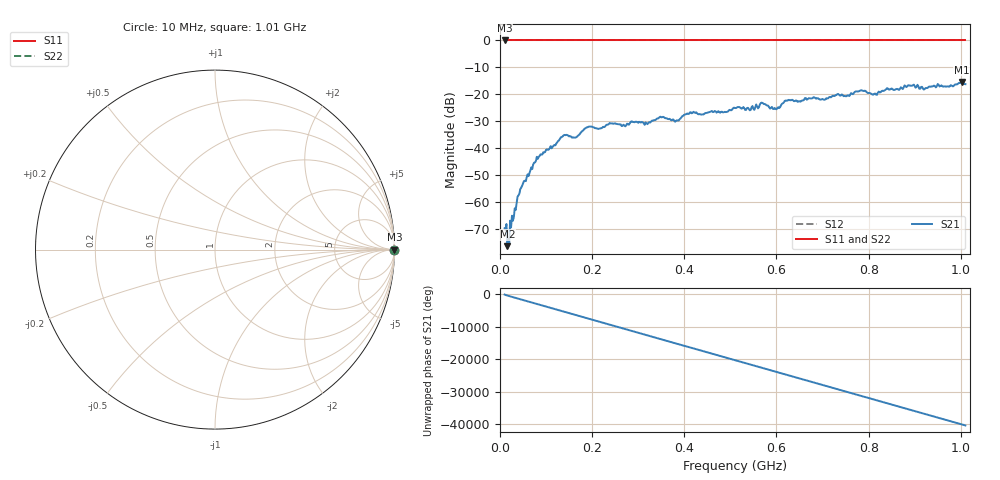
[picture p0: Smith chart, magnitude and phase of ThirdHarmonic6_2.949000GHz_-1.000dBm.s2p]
! 8/17/2025 8:17:20 AM
! C:\ANRITSUVNA\TEMP\TEMP.S2P
! CHANNEL.1
! TR.MEASUREMENT
! RAW.DATA
! RF.CORRECTION.OFF
! AVERAGING.OFF
! IF.BANDWIDTH: 5KHZ
! SWEEPTYPE:  FREQ.SWEEP(Linear)
! Reference Plane Port Info
! PORT:  PORT1  PORT2
! DISTANCE:  0  m  0  m
! TIME:  0  s  0  s
! PHASE.OFFSET:  0  deg.  0  deg.
! LOSS:  0  dB  0  dB
! REF.LOSS:  0  dB  0  dB
! REF.FREQ:  0  Hz  0  Hz
! Power Info
! POWER:  -20  dBm  -20  dBm
! EFF.POWER:  -20  dBm  -20  dBm
! SOURCE.ATTEN:  0  dB  0  dB
! TEST.ATTEN:  0  dB  0  dB
# GHZ S RI R 50.0
! FREQ.GHZ  S11RE  S11IM  S21RE  S21IM  S12RE  S12IM  S22RE  S22IM
!; PortSelection: Port_12
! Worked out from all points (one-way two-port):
!   501 points, 10 MHz to 1.01 GHz, reference 50 ohm
!   highest |S21| = -15.38 dB at 1.002 GHz (marker M1); lowest = -76.3 dB at 16 MHz (marker M2)
!   lowest |S11| = 0.0 dB at 10 MHz (marker M3)
!   |S11| at or under -10 dB: nowhere
!   |S22| runs from 0.0 to 0.0 dB; largest |S21 - S12| = 1.2
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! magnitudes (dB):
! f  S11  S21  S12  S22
! 10 MHz  0.0  -69.7  0.0  0.0
! 16 MHz  0.0  -76.3  0.0  0.0
! 20 MHz  0.0  -75.1  0.0  0.0
! 42 MHz  0.0  -56.9  0.0  0.0
! 76 MHz  0.0  -45.3  0.0  0.0
! 136 MHz  0.0  -35.6  0.0  0.0
! 162 MHz  0.0  -36.0  0.0  0.0
! 178 MHz  0.0  -33.7  0.0  0.0
! 318 MHz  0.0  -30.8  0.0  0.0
! 344 MHz  0.0  -28.9  0.0  0.0
! 384 MHz  0.0  -29.6  0.0  0.0
! 416 MHz  0.0  -27.0  0.0  0.0
! 510 MHz  0.0  -25.1  0.0  0.0
! 570 MHz  0.0  -23.2  0.0  0.0
! 596 MHz  0.0  -25.1  0.0  0.0
! 622 MHz  0.0  -22.3  0.0  0.0
! 678 MHz  0.0  -21.5  0.0  0.0
! 784 MHz  0.0  -18.5  0.0  0.0
! 814 MHz  0.0  -19.7  0.0  0.0
! 844 MHz  0.0  -18.2  0.0  0.0
! 1.002 GHz  0.0  -15.4  0.0  0.0
! 1.01 GHz  0.0  -16.2  0.0  0.0
